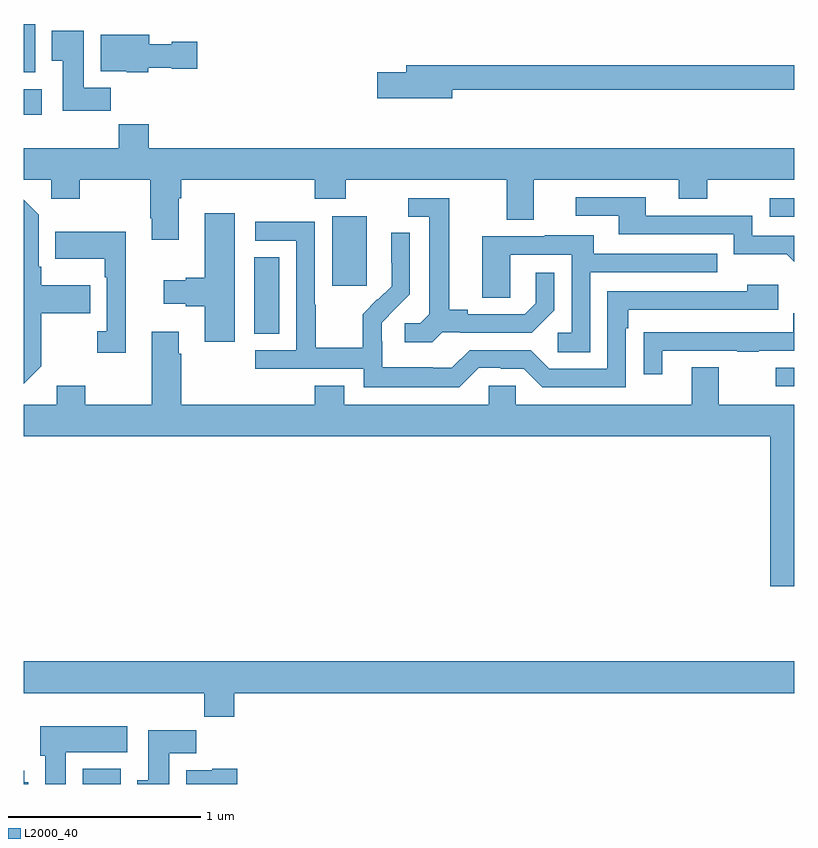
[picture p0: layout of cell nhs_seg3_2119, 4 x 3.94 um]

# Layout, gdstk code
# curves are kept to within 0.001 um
import gdstk
lib = gdstk.Library(unit=1e-6, precision=1e-09)
def R(c, l, rs):  # rectangles x0, y0, x1, y1
    for r in rs: c.add(gdstk.rectangle(r[:2], r[2:], *l))
def P(c, l, *ps):  # polygons
    for p in ps: c.add(gdstk.Polygon(p, *l))
L2000_40 = (2000, 40)

nhs_seg3_2119 = lib.new_cell('nhs_seg3_2119')
R(nhs_seg3_2119, L2000_40, [(219.308,744.4,219.505,744.478), (222.903,746.463,223,746.559), (220.196,746.737,220.327,747.134), (220.601,746.985,220.78,747.346), (222.873,747.345,223,747.441), (219,747.872,219.094,748.006), (219,748.094,219.061,748.344)])
P(nhs_seg3_2119, L2000_40, [(219.452,748.012),(219.313,748.012),(219.313,748.309),(219.146,748.309),(219.146,748.153),(219.203,748.153),(219.203,747.894),(219.452,747.894)],
  [(219.648,748.118),(219.768,748.118),(219.768,748.111),(219.901,748.111),(219.901,748.253),(219.768,748.253),(219.768,748.24),(219.652,748.24),(219.652,748.288),(219.401,748.288),(219.401,748.1),(219.534,748.1),(219.534,748.094),(219.648,748.094)],
  [(221.224,748.002),(223,748.002),(223,748.13),(220.985,748.13),(220.985,748.094),(220.836,748.094),(220.836,747.959),(221.224,747.959)],
  [(219.805,747.44),(219.818,747.44),(219.818,747.536),(220.511,747.536),(220.511,747.437),(220.671,747.437),(220.671,747.536),(221.507,747.536),(221.507,747.328),(221.647,747.328),(221.647,747.536),(222.401,747.536),(222.401,747.437),(222.549,747.437),(222.549,747.536),(223,747.536),(223,747.7),(219.65,747.7),(219.65,747.824),(219.493,747.824),(219.493,747.7),(219,747.7),(219,747.536),(219.144,747.536),(219.144,747.437),(219.291,747.437),(219.291,747.536),(219.658,747.536),(219.658,747.337),(219.665,747.337),(219.665,747.225),(219.805,747.225)],
  [(223,747.246),(222.78,747.246),(222.78,747.348),(222.229,747.348),(222.229,747.444),(221.865,747.444),(221.865,747.348),(222.089,747.348),(222.089,747.252),(222.684,747.252),(222.684,747.149),(222.961,747.149),(223,747.11)],
  [(221.172,746.745),(221.266,746.745),(221.266,746.742),(221.638,746.742),(221.754,746.858),(221.754,747.052),(221.657,747.052),(221.657,746.895),(221.6,746.838),(221.305,746.838),(221.305,746.861),(221.209,746.861),(221.209,747.441),(220.995,747.441),(220.995,747.345),(221.105,747.345),(221.105,746.837),(221.058,746.79),(220.977,746.79),(220.977,746.693),(221.12,746.693)],
  [(219.091,746.569),(219.091,746.842),(219.347,746.842),(219.347,746.989),(219.091,746.989),(219.091,747.085),(219.078,747.085),(219.078,747.354),(219,747.432),(219,746.478)],
  [(220.096,747.361),(219.941,747.361),(219.941,747.026),(219.842,747.026),(219.842,747.013),(219.726,747.013),(219.726,746.891),(219.842,746.891),(219.842,746.879),(219.941,746.879),(219.941,746.694),(220.096,746.694)],
  [(221.361,746.559),(221.477,746.559),(221.477,746.556),(221.595,746.556),(221.691,746.46),(222.126,746.46),(222.126,746.765),(222.139,746.765),(222.139,746.862),(222.916,746.862),(222.916,746.992),(222.755,746.992),(222.755,746.958),(222.03,746.958),(222.03,746.556),(221.727,746.556),(221.631,746.652),(221.316,746.652),(221.223,746.559),(221.123,746.559),(221.123,746.563),(220.86,746.563),(220.86,746.697),(220.858,746.697),(220.858,746.794),(221.004,746.942),(221.004,747.26),(220.908,747.26),(220.908,747.106),(220.91,747.106),(220.91,746.984),(220.839,746.913),(220.836,746.916),(220.759,746.839),(220.759,746.665),(220.515,746.665),(220.515,746.888),(220.512,746.888),(220.512,747.318),(220.203,747.318),(220.203,747.219),(220.416,747.219),(220.416,746.652),(220.203,746.652),(220.203,746.556),(220.764,746.556),(220.764,746.459),(221.261,746.459)],
  [(219.53,747.265),(219.163,747.265),(219.163,747.125),(219.42,747.125),(219.42,747.029),(219.432,747.029),(219.432,746.75),(219.381,746.75),(219.381,746.637),(219.53,746.637)],
  [(221.94,747.057),(222.599,747.057),(222.599,747.153),(221.959,747.153),(221.959,747.247),(221.705,747.247),(221.705,747.243),(221.381,747.243),(221.381,746.923),(221.526,746.923),(221.526,747.147),(221.844,747.147),(221.844,746.742),(221.772,746.742),(221.772,746.641),(221.94,746.641)],
  [(222.313,746.649),(222.703,746.649),(222.703,746.644),(222.815,746.644),(222.815,746.649),(223,746.649),(223,746.842),(222.994,746.842),(222.994,746.745),(222.319,746.745),(222.319,746.744),(222.217,746.744),(222.217,746.526),(222.313,746.526)],
  [(223,746.368),(222.607,746.368),(222.607,746.563),(222.467,746.563),(222.467,746.368),(221.553,746.368),(221.553,746.466),(221.415,746.466),(221.415,746.368),(220.663,746.368),(220.663,746.467),(220.511,746.467),(220.511,746.368),(219.818,746.368),(219.818,746.633),(219.805,746.633),(219.805,746.746),(219.665,746.746),(219.665,746.368),(219.321,746.368),(219.321,746.467),(219.173,746.467),(219.173,746.368),(219,746.368),(219,746.204),(222.875,746.204),(222.875,745.425),(223,745.425)],
  [(220.094,744.872),(223,744.872),(223,745.036),(219,745.036),(219,744.872),(219.937,744.872),(219.937,744.748),(220.094,744.748)],
  [(219.22,744.566),(219.538,744.566),(219.538,744.7),(219.086,744.7),(219.086,744.546),(219.113,744.546),(219.113,744.4),(219.22,744.4)],
  [(219.757,744.56),(219.896,744.56),(219.896,744.679),(219.647,744.679),(219.647,744.42),(219.59,744.42),(219.59,744.4),(219.757,744.4)],
  [(220.109,744.478),(219.978,744.478),(219.978,744.472),(219.845,744.472),(219.845,744.4),(220.109,744.4)],
  [(219.025,744.408),(219.004,744.408),(219.004,744.469),(219,744.469),(219,744.4),(219.025,744.4)])

lib.write_gds('nhs_seg3_2119.gds')
